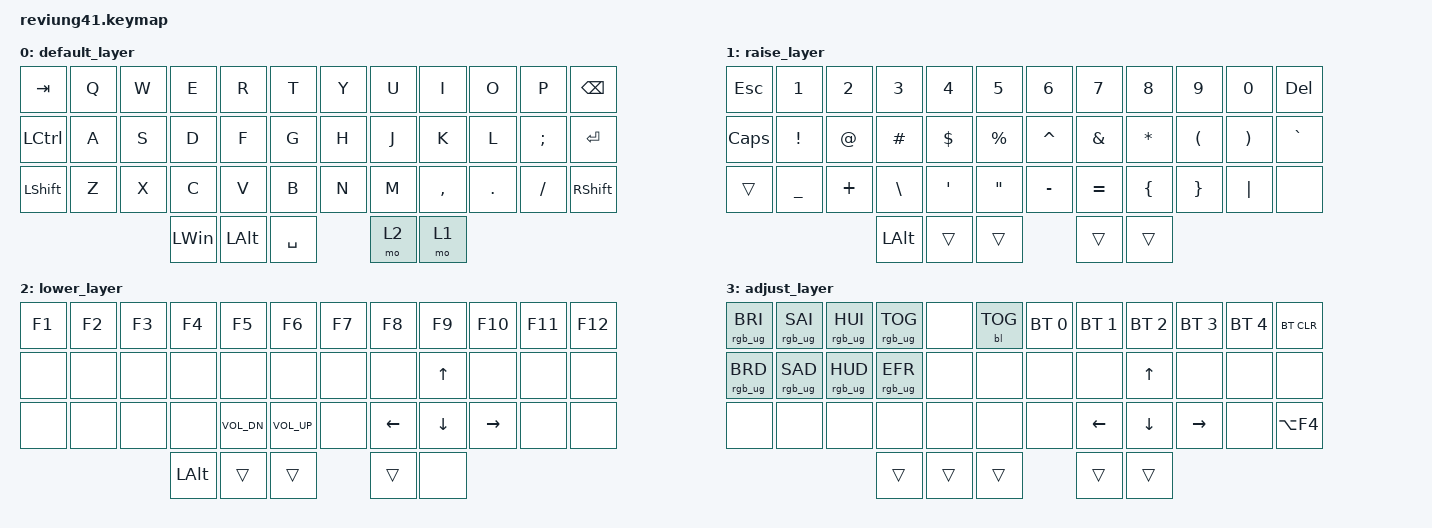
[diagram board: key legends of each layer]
/*
 * Copyright (c) 2020 The ZMK Contributors
 *
 * SPDX-License-Identifier: MIT
 */

#include <behaviors.dtsi>
#include <dt-bindings/zmk/backlight.h>
#include <dt-bindings/zmk/bt.h>
#include <dt-bindings/zmk/keys.h>
#include <dt-bindings/zmk/rgb.h>

/ {
    keymap {
        compatible = "zmk,keymap";

        default_layer {
            // -------------------------------------------------------------------------------------
            // |  TAB |  Q  |  W  |  E  |  R  |  T  |   |  Y  |  U   |  I  |  O  |  P  |   BKSP    |
            // | CTRL |  A  |  S  |  D  |  F  |  G  |   |  H  |  J   |  K  |  L  |  ;  |    '      |
            // | SHFT |  Z  |  X  |  C  |  V  |  B  |   |  N  |  M   |  ,  |  .  |  /  | SHFT(RET) |
            //                         | ALT | LWR | SPC | RSE  | ALT |

            bindings = <
&kp TAB           &kp Q  &kp W  &kp E         &kp R         &kp T             &kp Y  &kp U  &kp I      &kp O    &kp P      &kp BSPC
&kp LEFT_CONTROL  &kp A  &kp S  &kp D         &kp F         &kp G             &kp H  &kp J  &kp K      &kp L    &kp SEMI   &kp RET
&kp LEFT_SHIFT    &kp Z  &kp X  &kp C         &kp V         &kp B             &kp N  &kp M  &kp COMMA  &kp DOT  &kp SLASH  &kp RIGHT_SHIFT
                                &kp LEFT_WIN  &kp LEFT_ALT         &kp SPACE         &mo 2  &mo 1
            >;
        };

        raise_layer {
            // -----------------------------------------------------------------------------------------
            // |    |  1  |  2  |  3  |  4  |  5  |   |  6  |  7  |  8  |  9  |  0  | DEL |
            // |    |  -  |  =  |  [  |  ]  |  \  |   | F1  | F2  | F3  | F4  | F5  | F6  |
            // |    | ESC | GUI | ALT | CAPS|  "  |   | F7  | F8  | F9  | F10 | F11 | F12 |
            //                       |     | ADJ | BKSP |    |     |

            bindings = <
&kp ESC   &kp N1     &kp N2    &kp N3        &kp N4    &kp N5             &kp N6     &kp N7     &kp N8    &kp N9    &kp N0    &kp DEL
&kp CAPS  &kp EXCL   &kp AT    &kp HASH      &kp DLLR  &kp PRCNT          &kp CARET  &kp AMPS   &kp STAR  &kp LPAR  &kp RPAR  &kp GRAVE
&trans    &kp UNDER  &kp PLUS  &kp BSLH      &kp SQT   &kp DQT            &kp MINUS  &kp EQUAL  &kp LBRC  &kp RBRC  &kp PIPE  &none
                               &kp LEFT_ALT  &trans               &trans             &trans     &trans
            >;
        };

        lower_layer {
            // ----------------------------------------------------------------------------------
            // |    |  !  |  @  |  #  |  $  |  %  |   |  ^  |  &  |  *  |  (  |  )  |    DEL    |
            // |    |  _  |  +  |  {  |  }  | "|" |   | LFT | DWN |  UP | RGT |  `  |     ~     |
            // |    | ESC | GUI | ALT | CAPS|  "  |   | HOME| END | PGUP| PGDN| PRSC| SHFT(RET) |
            //                       |     |     | RET | ADJ |     |

            bindings = <
&kp F1  &kp F2  &kp F3  &kp F4        &kp F5        &kp F6                &kp F7  &kp F8    &kp F9          &kp F10    &kp F11  &kp F12
&none   &none   &none   &none         &none         &none                 &none   &none     &kp UP_ARROW    &none      &none    &none
&none   &none   &none   &none         &kp C_VOL_DN  &kp C_VOL_UP          &none   &kp LEFT  &kp DOWN_ARROW  &kp RIGHT  &none    &none
                        &kp LEFT_ALT  &trans                      &trans          &trans    &none
            >;
        };

        adjust_layer {
            // -----------------------------------------------------------------------------------------
            // | RGB BRI+ | RGB SAT+ | RGB HUE+ | RGB ANI+ |    | RGB TOG |   |  BT1  | BT2 | BT3 | BT4 | BT5 | BT CLR |
            // | RGB BRI- | RGB SAT- | RGB HUE- | RGB ANI- |    |         |   |       |     |     |     |     |        |
            // |          |          |          |          |    |         |   | RESET |     |     |     |     |        |
            //                                              |     |     |     |     |     |

            bindings = <
&rgb_ug RGB_BRI  &rgb_ug RGB_SAI  &rgb_ug RGB_HUI  &rgb_ug RGB_TOG  &none   &bl BL_TOG          &bt BT_SEL 0  &bt BT_SEL 1  &bt BT_SEL 2  &bt BT_SEL 3  &bt BT_SEL 4  &bt BT_CLR
&rgb_ug RGB_BRD  &rgb_ug RGB_SAD  &rgb_ug RGB_HUD  &rgb_ug RGB_EFR  &none   &none               &none         &none         &kp UP        &none         &none         &none
&none            &none            &none            &none            &none   &none               &none         &kp LEFT      &kp DOWN      &kp RIGHT     &none         &kp LA(F4)
                                                   &trans           &trans              &trans                &trans        &trans
            >;
        };
    };
};
